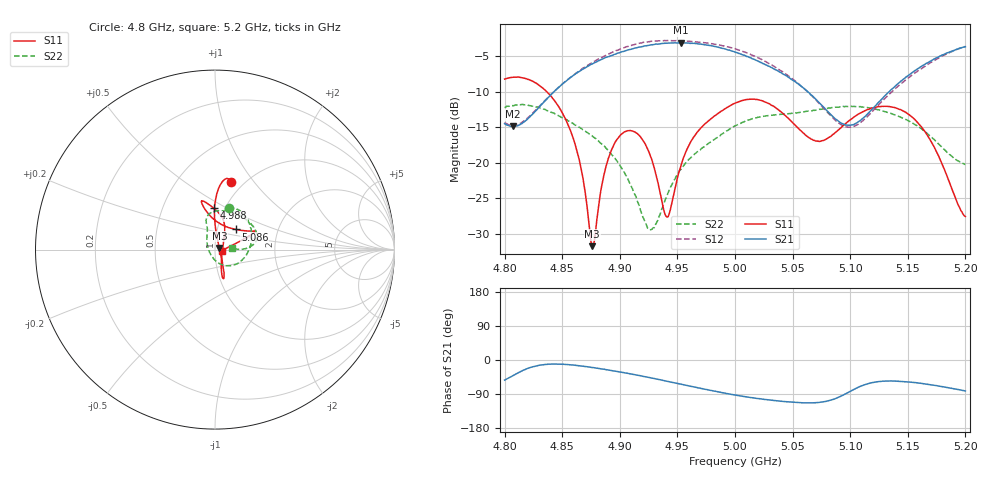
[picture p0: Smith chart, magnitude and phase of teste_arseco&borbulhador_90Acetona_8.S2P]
! Network Analyzer HP8722D
! Hewlett-Packard
! Data name: Linha & Wilkinson
! Saver's name: Rodrigo Anjos
! Comments: Teste da utilização de aquisição
! continua pelo VNA HP8722D
! Time and date: 17/4/2025 11:07
!  Frequency  S11  S21  S12  S22
# HZ  S  MA R 50
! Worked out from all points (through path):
!   401 points, 4.8 GHz to 5.2 GHz, reference 50 ohm
!   highest |S21| = -3.08 dB at 4.953 GHz (marker M1); lowest = -14.9 dB at 4.807 GHz (marker M2)
!   lowest |S11| = -31.8 dB at 4.876 GHz (marker M3), VSWR 1.05, Z = 52.5 + j0.99 ohm
!   |S11| at or under -10 dB: 4.837 GHz to end of sweep
!   |S22| runs from -29.5 to -11.8 dB; largest |S21 - S12| = 1.4
!   S11 on the Smith chart (normalised r, x): 4.8 GHz: 0.87, +0.78; 4.988 GHz: 0.89, +0.43; 5.086 GHz: 1.22, +0.28; 5.2 GHz: 1.08, -0.02
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4.8e9  0.3891 76.9  0.1886 -53.1  0.1921 82.1  0.2456 71.5
4.807e9  0.4007 78.9  0.1805 -41.8  0.1834 92.3  0.2531 65.8
4.845e9  0.2623 89.9  0.3289 -10.6  0.3301 122.9  0.2184 21.0
4.858e9  0.162 90.4  0.4032 -12.9  0.4042 122.6  0.1917 1.4
4.867e9  0.08589 84.6  0.4522 -16.1  0.4572 121.3  0.1735 -12.5
4.876e9  0.02584 21.4  0.497 -19.8  0.5085 119.1  0.1548 -26.8
4.889e9  0.1001 -63.8  0.5561 -25.8  0.5782 114.8  0.1246 -46.4
4.902e9  0.1605 -71.7  0.6071 -32.5  0.6402 109.0  0.09048 -66.6
4.924e9  0.126 -73.3  0.6708 -45.4  0.7106 96.7  0.0347 -136.1
4.934e9  0.06726 -57.9  0.6877 -51.7  0.725 90.5  0.04186 162.4
4.942e9  0.04173 2.9  0.6964 -56.8  0.7268 85.2  0.06166 135.9
4.953e9  0.09546 56.9  0.7016 -63.7  0.7241 78.3  0.08983 119.8
4.966e9  0.1592 71.6  0.6919 -72.1  0.712 70.1  0.117 111.3
4.988e9  0.2312 91.7  0.6453 -85.6  0.673 55.9  0.1586 108.0
5e9  0.2631 100.1  0.6033 -92.5  0.6375 48.4  0.1819 105.1
5.028e9  0.2644 105.8  0.4846 -104.8  0.5083 33.9  0.2147 89.2
5.067e9  0.1462 77.4  0.2974 -113.1  0.2952 27.7  0.2328 54.9
5.086e9  0.1604 44.3  0.2082 -103.3  0.2034 39.9  0.2458 36.9
5.105e9  0.2149 28.7  0.1899 -74.9  0.1834 70.0  0.2488 22.4
5.134e9  0.2492 23.9  0.3178 -55.3  0.3047 91.1  0.2249 9.2
5.165e9  0.1655 19.7  0.4957 -63.2  0.4788 84.8  0.1658 1.5
5.2e9  0.04184 -14.1  0.6586 -81.7  0.6611 67.5  0.0971 5.9
